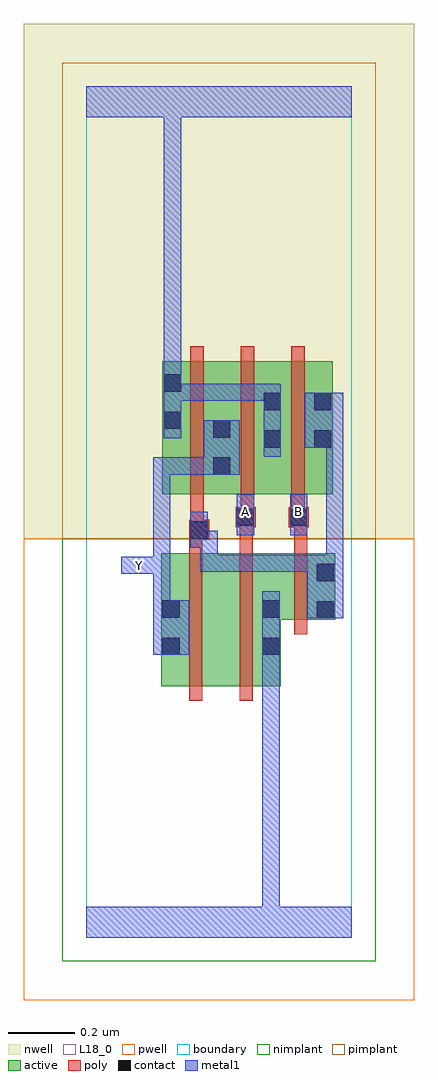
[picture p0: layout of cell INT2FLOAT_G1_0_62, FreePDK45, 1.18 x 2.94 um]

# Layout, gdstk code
import gdstk
lib = gdstk.Library(unit=1e-6, precision=1e-09)
def R(c, l, rs):  # rectangles x0, y0, x1, y1
    for r in rs: c.add(gdstk.rectangle(r[:2], r[2:], *l))
def A(c, l, x, y, w, h, nx, ny, dx, dy):  # array of equal rectangles
    R(c, l, [(x+i*dx, y+j*dy, x+i*dx+w, y+j*dy+h) for i in range(nx) for j in range(ny)])
active = (1, 0)
pwell = (2, 0)
nwell = (3, 0)
nimplant = (4, 0)
pimplant = (5, 0)
poly = (9, 0)
contact = (10, 0)
metal1 = (11, 0)
L18_0 = (18, 0)
boundary = (235, 0)

int2float_g1_0_62 = lib.new_cell('INT2FLOAT_G1_0_62')
R(int2float_g1_0_62, active, [(0.226,0.756,0.286,1.156), (0.226,0.756,0.406,1.156), (0.406,0.756,0.586,1.156), (0.526,0.756,0.586,1.156), (0.526,0.956,0.75,1.156), (0.69,0.956,0.75,1.156), (0.23,1.334,0.29,1.734), (0.23,1.334,0.438,1.734), (0.378,1.334,0.59,1.734), (0.53,1.334,0.742,1.734), (0.682,1.334,0.742,1.734), (0.378,1.36,0.438,1.734), (0.53,1.47,0.59,1.644)])
R(int2float_g1_0_62, pwell, [(-0.188,-0.188,0.988,1.2)])
R(int2float_g1_0_62, nwell, [(-0.188,1.2,0.988,2.748)])
R(int2float_g1_0_62, nimplant, [(-0.072,-0.072,0.872,1.2)])
R(int2float_g1_0_62, pimplant, [(-0.072,1.2,0.872,2.632)])
A(int2float_g1_0_62, poly, 0.314, 1.29, 0.04, 0.488, 3, 1, 0.152, 0)
R(int2float_g1_0_62, poly, [(0.31,0.712,0.35,1.2), (0.462,0.712,0.502,1.2), (0.626,0.912,0.666,1.2), (0.31,1.16,0.35,1.236), (0.462,1.16,0.502,1.274), (0.626,1.16,0.666,1.274), (0.31,1.196,0.37,1.256), (0.314,1.216,0.354,1.256), (0.314,1.216,0.354,1.256), (0.314,1.216,0.354,1.33), (0.45,1.234,0.51,1.294), (0.462,1.234,0.502,1.274), (0.462,1.234,0.502,1.274), (0.61,1.234,0.67,1.294), (0.626,1.234,0.666,1.274), (0.626,1.234,0.666,1.274), (0.466,1.254,0.506,1.33), (0.618,1.254,0.658,1.33)])
R(int2float_g1_0_62, contact, [(0.23,0.85,0.282,0.902), (0.53,0.85,0.582,0.902), (0.694,0.96,0.746,1.012), (0.23,0.962,0.282,1.014), (0.53,0.962,0.582,1.014), (0.694,1.072,0.746,1.124), (0.314,1.2,0.366,1.252), (0.454,1.238,0.506,1.29), (0.614,1.238,0.666,1.29), (0.382,1.392,0.434,1.444), (0.534,1.474,0.586,1.526), (0.686,1.474,0.738,1.526), (0.382,1.504,0.434,1.556), (0.234,1.53,0.286,1.582), (0.534,1.586,0.586,1.638), (0.686,1.586,0.738,1.638), (0.234,1.642,0.286,1.694)])
R(int2float_g1_0_62, metal1, [(0,0,0.8,0.092), (0.53,0.04,0.582,0.092), (0.53,0.04,0.582,0.092), (0.53,0.04,0.582,0.092), (0.53,0.04,0.582,0.092), (0.53,0.04,0.582,0.092), (0.53,0.04,0.582,0.092), (0.53,0.04,0.582,0.092), (0.53,0.04,0.582,0.092), (0.53,0.04,0.582,0.092), (0.53,0.04,0.582,0.092), (0.53,0.04,0.582,0.092), (0.53,0.04,0.582,0.092), (0.53,0.04,0.582,0.874), (0.53,0.822,0.582,1.042), (0.202,0.85,0.31,1.014), (0.666,0.96,0.774,1.124), (0.202,0.962,0.254,1.146), (0.722,1.072,0.774,1.152), (0.106,1.094,0.254,1.146), (0.202,1.094,0.254,1.444), (0.344,1.1,0.396,1.224), (0.344,1.1,0.556,1.152), (0.504,1.1,0.556,1.152), (0.504,1.1,0.556,1.152), (0.504,1.1,0.556,1.152), (0.504,1.1,0.774,1.152), (0.722,1.1,0.774,1.152), (0.722,1.1,0.774,1.152), (0.722,1.1,0.774,1.152), (0.722,1.1,0.774,1.526), (0.314,1.172,0.396,1.224), (0.314,1.172,0.366,1.28), (0.454,1.21,0.506,1.334), (0.614,1.21,0.666,1.334), (0.202,1.392,0.254,1.444), (0.202,1.392,0.254,1.444), (0.202,1.392,0.254,1.444), (0.202,1.392,0.254,1.444), (0.202,1.392,0.254,1.444), (0.202,1.392,0.406,1.444), (0.354,1.392,0.462,1.556), (0.534,1.446,0.586,1.666), (0.658,1.474,0.774,1.638), (0.722,1.474,0.774,1.526), (0.722,1.474,0.774,1.526), (0.234,1.502,0.286,1.722), (0.234,1.614,0.286,1.666), (0.234,1.614,0.286,1.666), (0.234,1.614,0.396,1.666), (0.344,1.614,0.396,1.666), (0.344,1.614,0.556,1.666), (0.504,1.614,0.556,1.666), (0.504,1.614,0.586,1.666), (0.234,1.67,0.286,2.52), (0,2.468,0.8,2.56), (0.234,2.468,0.286,2.52), (0.234,2.468,0.286,2.52), (0.234,2.468,0.286,2.52), (0.234,2.468,0.286,2.52), (0.234,2.468,0.286,2.52), (0.234,2.468,0.286,2.52), (0.234,2.468,0.286,2.52), (0.234,2.468,0.286,2.52), (0.234,2.468,0.286,2.52), (0.234,2.468,0.286,2.52), (0.234,2.468,0.286,2.52), (0.234,2.468,0.286,2.52), (0.234,2.468,0.286,2.52), (0.234,2.468,0.286,2.52), (0.234,2.468,0.286,2.52), (0.234,2.468,0.286,2.52)])
R(int2float_g1_0_62, L18_0, [(0,0,0.8,0.092), (0.53,0.04,0.582,0.092), (0.53,0.04,0.582,0.092), (0.53,0.04,0.582,0.092), (0.53,0.04,0.582,0.092), (0.53,0.04,0.582,0.092), (0.53,0.04,0.582,0.092), (0.53,0.04,0.582,0.092), (0.53,0.04,0.582,0.092), (0.53,0.04,0.582,0.092), (0.53,0.04,0.582,0.092), (0.53,0.04,0.582,0.092), (0.53,0.04,0.582,0.092), (0.53,0.04,0.582,0.874), (0.53,0.822,0.582,1.042), (0.202,0.85,0.31,1.014), (0.202,0.962,0.254,1.146), (0.106,1.094,0.254,1.146), (0.134,1.094,0.186,1.146), (0.202,1.094,0.254,1.444), (0.454,1.21,0.506,1.334), (0.614,1.21,0.666,1.334), (0.454,1.254,0.506,1.306), (0.614,1.254,0.666,1.306), (0.202,1.392,0.254,1.444), (0.202,1.392,0.254,1.444), (0.202,1.392,0.254,1.444), (0.202,1.392,0.254,1.444), (0.202,1.392,0.254,1.444), (0.202,1.392,0.406,1.444), (0.354,1.392,0.462,1.556), (0.534,1.446,0.586,1.666), (0.234,1.502,0.286,1.722), (0.234,1.614,0.286,1.666), (0.234,1.614,0.286,1.666), (0.234,1.614,0.396,1.666), (0.344,1.614,0.396,1.666), (0.344,1.614,0.556,1.666), (0.504,1.614,0.556,1.666), (0.504,1.614,0.586,1.666), (0.234,1.67,0.286,2.52), (0,2.468,0.8,2.56), (0.234,2.468,0.286,2.52), (0.234,2.468,0.286,2.52), (0.234,2.468,0.286,2.52), (0.234,2.468,0.286,2.52), (0.234,2.468,0.286,2.52), (0.234,2.468,0.286,2.52), (0.234,2.468,0.286,2.52), (0.234,2.468,0.286,2.52), (0.234,2.468,0.286,2.52), (0.234,2.468,0.286,2.52), (0.234,2.468,0.286,2.52), (0.234,2.468,0.286,2.52), (0.234,2.468,0.286,2.52), (0.234,2.468,0.286,2.52), (0.234,2.468,0.286,2.52), (0.234,2.468,0.286,2.52)])
R(int2float_g1_0_62, boundary, [(0,0,0.8,2.56)])
int2float_g1_0_62.add(gdstk.Label('A', (0.48,1.28), layer=11, texttype=0))
int2float_g1_0_62.add(gdstk.Label('B', (0.64,1.28), layer=11, texttype=0))
int2float_g1_0_62.add(gdstk.Label('Y', (0.16,1.12), layer=11, texttype=0))

lib.write_gds('INT2FLOAT_G1_0_62.gds')
